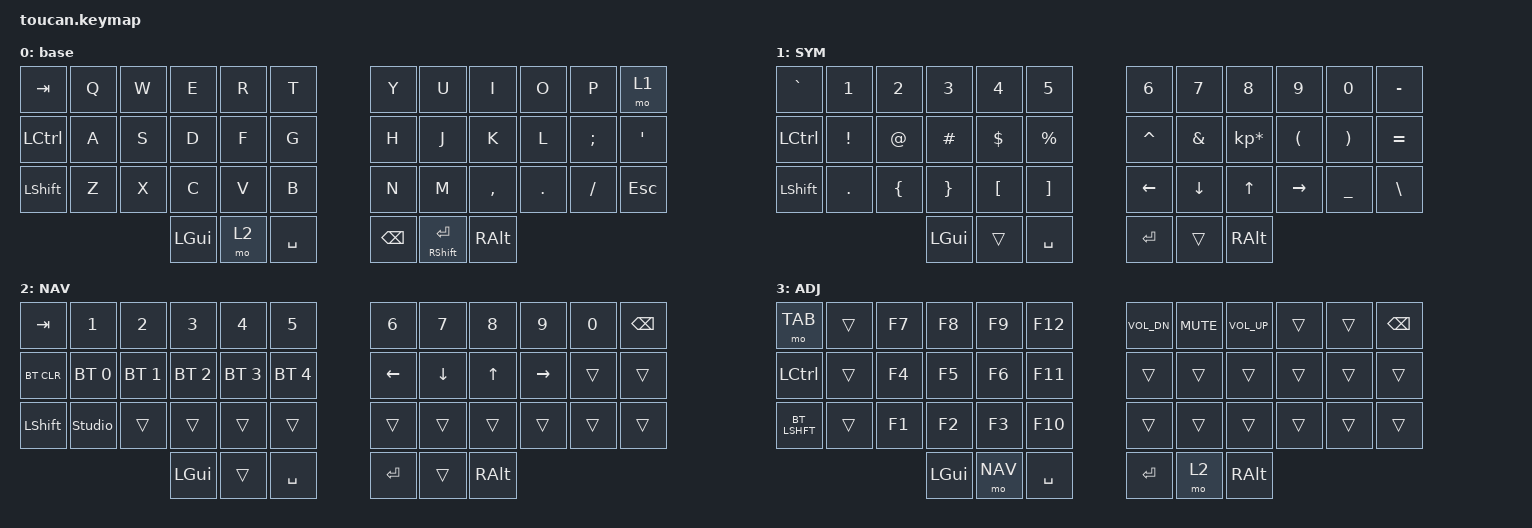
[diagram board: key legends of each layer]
#include <behaviors.dtsi>
#include <dt-bindings/zmk/keys.h>
#include <dt-bindings/zmk/bt.h>
#include <dt-bindings/zmk/outputs.h>

#define BASE 0
#define NAV  1
#define SYM  2
#define ADJ  3

/ {
    conditional_layers {
        compatible = "zmk,conditional-layers";
        tri_layer {
            if-layers = <1 2>;
            then-layer = <3>;
        };
    };

    keymap {
        compatible = "zmk,keymap";

        base {
            display-name = "base";
            bindings = <
                &kp TAB   &kp Q &kp W &kp E &kp R &kp T   &kp Y &kp U  &kp I     &kp O   &kp P    &mo 1
                &kp LCTRL &kp A &kp S &kp D &kp F &kp G   &kp H &kp J  &kp K     &kp L   &kp SEMI &kp SQT
                &kp LSHFT &kp Z &kp X &kp C &kp V &kp B   &kp N &kp M  &kp COMMA &kp DOT &kp FSLH &kp ESC
                                &kp LGUI &mo 2 &kp SPACE   &kp BSPC &mt RSHIFT RET &kp RALT
            >;
        };

        sym {
            display-name = "SYM";
            bindings = <
//                &kp TAB   &kp EXCL &kp AT &kp HASH &kp DLLR &kp PRCNT   &kp CARET &kp AMPS  &kp KP_MULTIPLY &kp LPAR &kp RPAR &kp BSPC
                &kp GRAVE &kp N1   &kp N2   &kp N3   &kp N4   &kp N5      &kp N6    &kp N7    &kp N8          &kp N9    &kp N0    &kp MINUS
                &kp LCTRL &kp EXCL &kp AT   &kp HASH &kp DLLR &kp PRCNT   &kp CARET &kp AMPS  &kp KP_MULTIPLY &kp LPAR  &kp RPAR  &kp EQUAL
                &kp LSHFT &kp DOT  &kp LBRC &kp RBRC &kp LBKT &kp RBKT    &kp LEFT  &kp DOWN  &kp UP          &kp RIGHT &kp UNDER &kp BSLH
                                          &kp LGUI &trans   &kp SPACE   &kp RET   &trans    &kp RALT
            >;
        };

        nav {
            display-name = "NAV";
            bindings = <
                &kp TAB     &kp N1          &kp N2       &kp N3       &kp N4       &kp N5         &kp N6   &kp N7   &kp N8 &kp N9    &kp N0 &kp BSPC
                &bt BT_CLR  &bt BT_SEL 0    &bt BT_SEL 1 &bt BT_SEL 2 &bt BT_SEL 3 &bt BT_SEL 4   &kp LEFT &kp DOWN &kp UP &kp RIGHT &trans &trans
                &kp LSHFT   &studio_unlock  &trans       &trans       &trans       &trans         &trans   &trans   &trans &trans    &trans &trans
                                                &kp LGUI     &trans       &kp SPACE      &kp RET  &trans   &kp RALT
            >;
        };



        adj {
            display-name = "ADJ";
            bindings = <
                &mo TAB   &trans &kp F7 &kp F8 &kp F9 &kp F12   &kp C_VOL_DN &kp C_MUTE  &kp C_VOL_UP &trans &trans &kp BSPC
                &kp LCTRL &trans &kp F4 &kp F5 &kp F6 &kp F11   &trans       &trans      &trans       &trans &trans &trans
                &bt LSHFT &trans &kp F1 &kp F2 &kp F3 &kp F10   &trans       &trans      &trans       &trans &trans &trans
                                   &kp LGUI &mo NAV &kp SPACE   &kp RET &mo 2 &kp RALT
            >;
        };
        extra_1 {
                status = "reserved";
        };

        extra_2 {
                status = "reserved";
        };

        extra_3 {
                status = "reserved";
        };
    };
};
